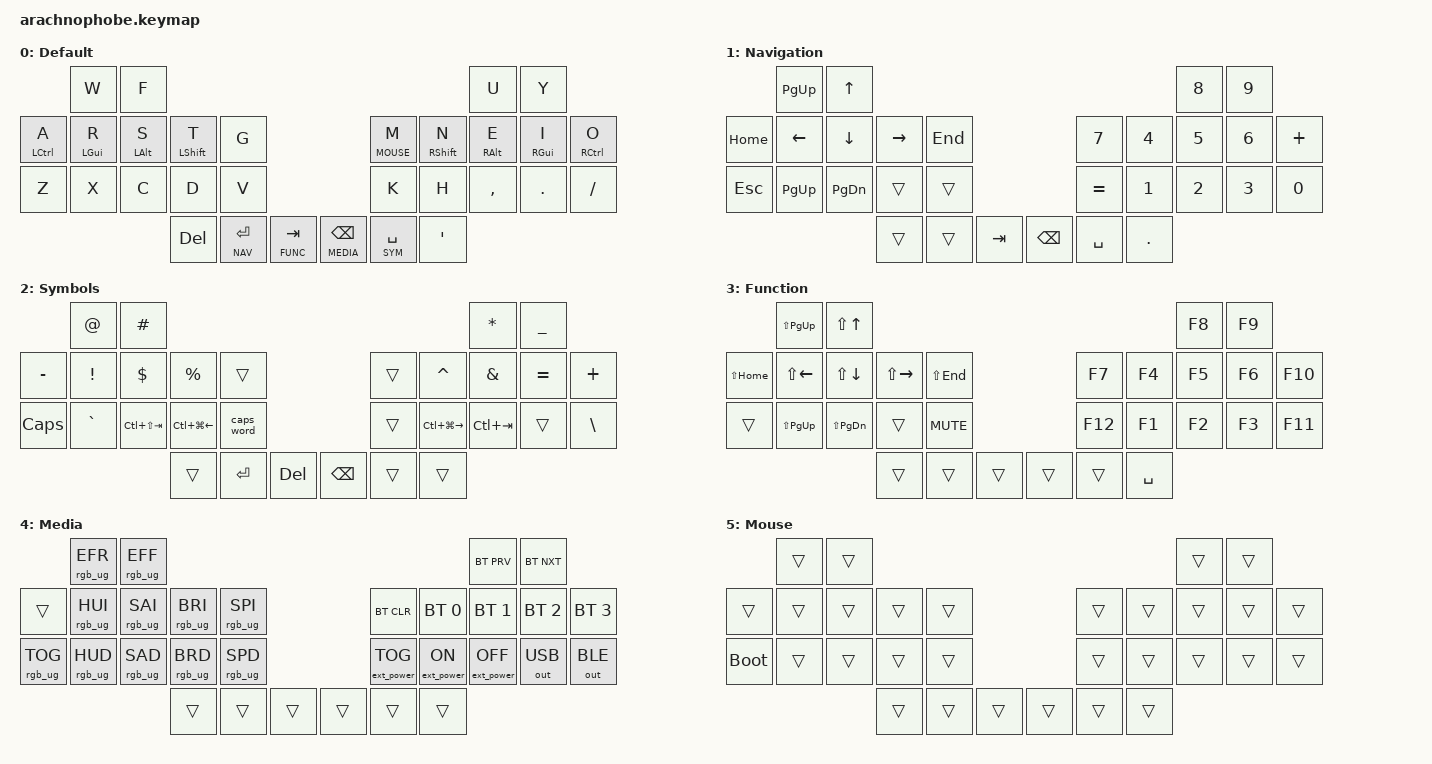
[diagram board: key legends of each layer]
/*
 * Copyright (c) 2020 The ZMK Contributors
 *
 * SPDX-License-Identifier: MIT
 */

#include <behaviors.dtsi>
#include <dt-bindings/zmk/keys.h>
#include <dt-bindings/zmk/rgb.h>
#include <dt-bindings/zmk/bt.h>
#include <dt-bindings/zmk/ext_power.h>
#include <dt-bindings/zmk/outputs.h>

#define DEFAULT 0
#define NAV     1
#define SYM     2
#define FUNC    3
#define MEDIA   4
#define MOUSE   5

&caps_word {
    continue-list = <UNDERSCORE MINUS>;
};

/ {
// TODO: key positions
    combos {
        compatible = "zmk,combos";
        combo_undo {
            timeout-ms = <50>;
            key-positions = <14 15>;
            bindings = <&kp LC(Z)>;
        };
        combo_q {
            timeout-ms = <50>;
            key-positions = <15 16>;
            bindings = <&kp Q>;
        };
        combo_p {
            timeout-ms = <50>;
            key-positions = <7 8>;
            bindings = <&kp P>;
        };
        combo_b {
            timeout-ms = <50>;
            key-positions = <17 18>;
            bindings = <&kp B>;
        };
        combo_j {
            timeout-ms = <50>;
            key-positions = <19 20>;
            bindings = <&kp J>;
        };
        combo_l {
            timeout-ms = <50>;
            key-positions = <9 10>;
            bindings = <&kp L>;
        };
        combo_semicolon {
            timeout-ms = <50>;
            key-positions = <21 22>;
            bindings = <&kp SEMI>;
        };
        combo_lbracket {
            timeout-ms = <50>;
            key-positions = <5 15>;
            bindings = <&kp LBKT>;
        };
        combo_lcurly {
            timeout-ms = <50>;
            key-positions = <6 16>;
            bindings = <&kp LBRC>;
        };
        combo_lparen {
            timeout-ms = <50>;
            key-positions = <7 17>;
            bindings = <&kp LPAR>;
        };
        combo_langle {
            timeout-ms = <50>;
            key-positions = <8 18>;
            bindings = <&kp LT>;
        };
        combo_rangle {
            timeout-ms = <50>;
            key-positions = <9 19>;
            bindings = <&kp GT>;
        };
        combo_rparen {
            timeout-ms = <50>;
            key-positions = <10 20>;
            bindings = <&kp RPAR>;
        };
        combo_rcurly {
            timeout-ms = <50>;
            key-positions = <11 21>;
            bindings = <&kp RBRC>;
        };
        combo_rbracket {
            timeout-ms = <50>;
            key-positions = <22 23>;
            bindings = <&kp RBKT>;
        };
    };
};

/ {
    behaviors {
        hm: homerow_mods {
            compatible = "zmk,behavior-hold-tap";
            label = "HOMEROW_MODS";
            #binding-cells = <2>;
            tapping-term-ms = <200>;
            quick_tap_ms = <0>;
            flavor = "balanced";
            bindings = <&kp>, <&kp>;
        };
        hs: homerow_shift {
            compatible = "zmk,behavior-hold-tap";
            label = "HOMEROW_SHIFT";
            #binding-cells = <2>;
            tapping-term-ms = <175>;
            quick_tap_ms = <0>;
            flavor = "balanced";
            bindings = <&kp>, <&kp>;
        };
    };

    keymap {
        compatible = "zmk,keymap";

        default_layer {
            label = "Default";

            bindings = <
                 &kp W        &kp F                                                                                            &kp U         &kp Y
    &hm LCTL A   &hm LGUI R   &hm LALT S  &hs LSHIFT T  &kp G                                       &lt MOUSE M   &hs RSHIFT N &hm RALT E    &hm RGUI I  &hm RCTL O
    &kp Z        &kp X        &kp C       &kp D         &kp V                                       &kp K         &kp H        &kp COMMA     &kp DOT     &kp FSLH
                                          &kp DEL       &lt NAV RET  &lt FUNC TAB  &lt MEDIA BSPC   &lt SYM SPACE &kp SQT
            >;
        };

        nav_layer {
            label = "Navigation";
            
            bindings = <
                 &kp PG_UP    &kp UP                                                                                           &kp N8        &kp N9
    &kp HOME     &kp LEFT     &kp DOWN    &kp RIGHT     &kp END                                     &kp N7        &kp N4       &kp N5        &kp N6      &kp PLUS
    &kp ESC      &kp PG_UP    &kp PG_DN   &trans        &trans                                      &kp EQUAL     &kp N1       &kp N2        &kp N3      &kp N0 
                                          &trans        &trans       &kp TAB       &kp BSPC         &kp SPACE     &kp DOT
            >;
        };

        sym_layer {
            label = "Symbols";
            
            bindings = <
                 &kp AT       &kp HASH                                                                                                     &kp ASTRK     &kp UNDER
    &kp MINUS    &kp EXCL     &kp DLLR        &kp PRCNT        &trans                                      &trans        &kp CARET         &kp AMPS      &kp EQUAL   &kp PLUS
    &kp CAPS     &kp GRAVE    &kp LC(LS(TAB)) &kp LC(LG(LEFT)) &caps_word                                  &trans        &kp LC(LG(RIGHT)) &kp LC(TAB)   &trans      &kp BSLH
                                              &trans           &kp RET       &kp DEL        &kp BSPC       &trans        &trans
            >;
        };

        func_layer {
            label = "Function";

            bindings = <
                 &kp LS(PG_UP) &kp LS(UP)                                                                                            &kp F8        &kp F9
    &kp LS(HOME) &kp LS(LEFT)  &kp LS(DOWN)  &kp LS(RIGHT) &kp LS(END)                                 &kp F7           &kp F4       &kp F5        &kp F6      &kp F10
    &trans       &kp LS(PG_UP) &kp LS(PG_DN) &trans        &kp C_MUTE                                  &kp F12          &kp F1       &kp F2        &kp F3      &kp F11
                                             &trans        &trans        &trans         &trans         &trans           &kp SPACE
            >;
        };

        media_layer {
            label = "Media";

            bindings = <
                     &rgb_ug RGB_EFR  &rgb_ug RGB_EFF                                                                                          &bt BT_PRV         &bt BT_NXT
    &trans           &rgb_ug RGB_HUI  &rgb_ug RGB_SAI &rgb_ug RGB_BRI   &rgb_ug RGB_SPI                   &bt BT_CLR         &bt BT_SEL 0      &bt BT_SEL 1       &bt BT_SEL 2   &bt BT_SEL 3
    &rgb_ug RGB_TOG  &rgb_ug RGB_HUD  &rgb_ug RGB_SAD &rgb_ug RGB_BRD   &rgb_ug RGB_SPD                   &ext_power EP_TOG  &ext_power EP_ON  &ext_power EP_OFF  &out OUT_USB   &out OUT_BLE
                                                      &trans            &trans          &trans     &trans &trans             &trans
            >;
        };

        mouse_layer {
            label = "Mouse";

            bindings = <
                &trans      &trans                                                                                           &trans      &trans
    &trans      &trans      &trans      &trans      &trans                                           &trans      &trans      &trans      &trans      &trans
    &bootloader &trans      &trans      &trans      &trans                                           &trans      &trans      &trans      &trans      &trans
                                       &trans        &trans        &trans            &trans          &trans      &trans
            >;
        };
    };
};
